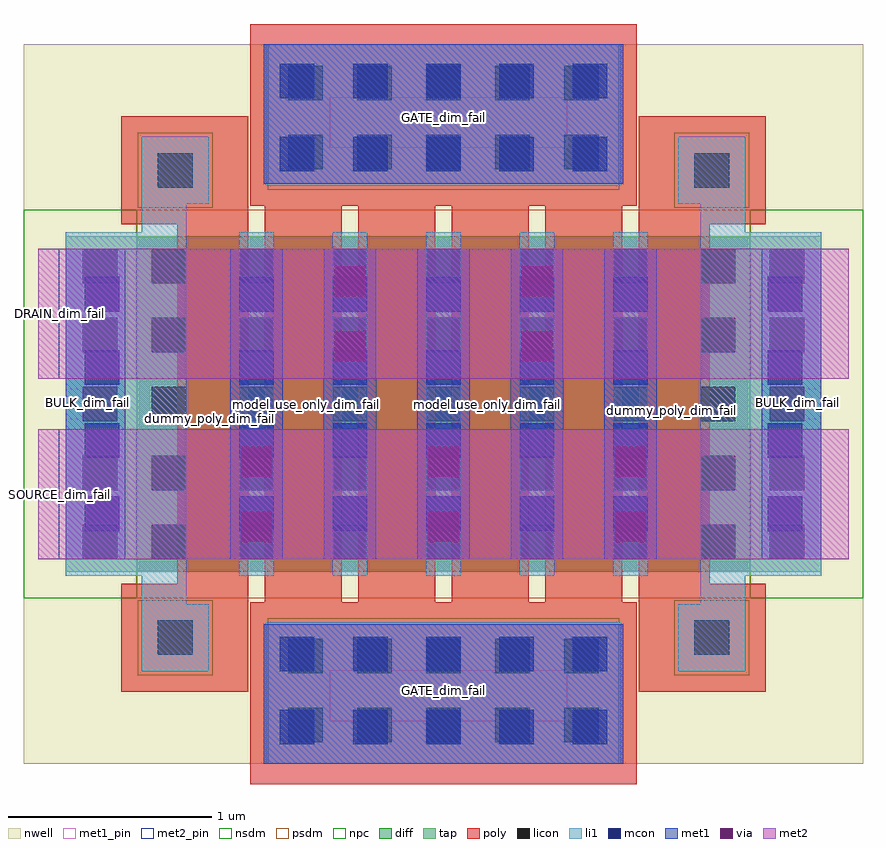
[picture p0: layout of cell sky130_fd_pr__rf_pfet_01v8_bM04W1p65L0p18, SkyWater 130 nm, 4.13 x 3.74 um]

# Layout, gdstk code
import gdstk
lib = gdstk.Library(unit=1e-6, precision=1e-09)
def R(c, l, rs):  # rectangles x0, y0, x1, y1
    for r in rs: c.add(gdstk.rectangle(r[:2], r[2:], *l))
def A(c, l, x, y, w, h, nx, ny, dx, dy):  # array of equal rectangles
    R(c, l, [(x+i*dx, y+j*dy, x+i*dx+w, y+j*dy+h) for i in range(nx) for j in range(ny)])
def P(c, l, *ps):  # polygons
    for p in ps: c.add(gdstk.Polygon(p, *l))
nwell = (64, 20)
diff = (65, 20)
tap = (65, 44)
poly = (66, 20)
licon = (66, 44)
li1 = (67, 20)
mcon = (67, 44)
met1_pin = (68, 16)
met1 = (68, 20)
via = (68, 44)
met2_pin = (69, 16)
met2 = (69, 20)
nsdm = (93, 44)
psdm = (94, 20)
npc = (95, 20)

sky130_fd_pr__rf_pfet_01 = lib.new_cell('sky130_fd_pr__rf_pfet_01v8_bM04W1p65L0p18')
R(sky130_fd_pr__rf_pfet_01, nwell, [(0,0,4.13,3.54)])
R(sky130_fd_pr__rf_pfet_01, diff, [(0.555,0.945,3.575,2.595)])
R(sky130_fd_pr__rf_pfet_01, tap, [(0.205,0.945,0.555,2.595), (3.575,0.945,3.925,2.595)])
P(sky130_fd_pr__rf_pfet_01, poly, [(0.48,0.355),(0.48,0.885),(0.755,0.885),(0.755,2.655),(0.48,2.655),(0.48,3.185),(1.105,3.185),(1.105,0.355)],
  [(3.025,0.355),(3.025,3.185),(3.65,3.185),(3.65,2.655),(3.375,2.655),(3.375,0.885),(3.65,0.885),(3.65,0.355)],
  [(1.115,-0.1),(1.115,0.795),(1.185,0.795),(1.185,2.745),(1.565,2.745),(1.565,0.795),(1.645,0.795),(1.645,2.745),(2.025,2.745),(2.025,0.795),(2.105,0.795),(2.105,2.745),(2.485,2.745),(2.485,0.795),(2.565,0.795),(2.565,2.745),(1.115,2.745),(1.115,3.64),(3.015,3.64),(3.015,2.745),(2.945,2.745),(2.945,0.795),(3.015,0.795),(3.015,-0.1)])
A(sky130_fd_pr__rf_pfet_01, licon, 1.3, 0.105, 0.17, 0.17, 5, 2, 0.34, 0.34)
A(sky130_fd_pr__rf_pfet_01, licon, 0.29, 1.005, 0.17, 0.17, 1, 5, 0, 0.34)
A(sky130_fd_pr__rf_pfet_01, licon, 0.63, 1.005, 0.17, 0.17, 1, 5, 0, 0.34)
A(sky130_fd_pr__rf_pfet_01, licon, 1.06, 1.005, 0.17, 0.17, 3, 1, 0.46, 0)
A(sky130_fd_pr__rf_pfet_01, licon, 1.98, 1.005, 0.17, 0.17, 3, 1, 0.46, 0)
A(sky130_fd_pr__rf_pfet_01, licon, 3.33, 1.005, 0.17, 0.17, 1, 5, 0, 0.34)
A(sky130_fd_pr__rf_pfet_01, licon, 3.67, 1.005, 0.17, 0.17, 1, 5, 0, 0.34)
A(sky130_fd_pr__rf_pfet_01, licon, 1.06, 1.345, 0.17, 0.17, 5, 4, 0.46, 0.34)
A(sky130_fd_pr__rf_pfet_01, licon, 1.3, 2.925, 0.17, 0.17, 5, 2, 0.34, 0.34)
R(sky130_fd_pr__rf_pfet_01, licon, [(0.66,0.535,0.83,0.705), (3.3,0.535,3.47,0.705), (1.06,1.005,1.23,1.175), (2.9,1.005,3.07,1.175), (0.66,2.835,0.83,3.005), (3.3,2.835,3.47,3.005)])
A(sky130_fd_pr__rf_pfet_01, li1, 1.06, 0.925, 0.17, 1.69, 5, 1, 0.46, 0)
R(sky130_fd_pr__rf_pfet_01, li1, [(1.19,0,2.94,0.695), (0.58,0.455,0.91,0.785), (3.22,0.455,3.55,0.785), (0.58,0.785,0.8,0.925), (3.33,0.785,3.55,0.925), (0.205,0.925,0.8,2.615), (3.33,0.925,3.925,2.615), (0.58,2.615,0.8,2.755), (3.33,2.615,3.55,2.755), (0.58,2.755,0.91,3.085), (3.22,2.755,3.55,3.085), (1.19,2.845,2.94,3.54)])
A(sky130_fd_pr__rf_pfet_01, mcon, 1.26, 0.095, 0.17, 0.17, 5, 2, 0.36, 0.36)
A(sky130_fd_pr__rf_pfet_01, mcon, 0.3, 1.145, 0.17, 0.17, 1, 4, 0, 0.36)
A(sky130_fd_pr__rf_pfet_01, mcon, 1.06, 1.145, 0.17, 0.17, 5, 4, 0.46, 0.36)
A(sky130_fd_pr__rf_pfet_01, mcon, 3.66, 1.145, 0.17, 0.17, 1, 4, 0, 0.36)
A(sky130_fd_pr__rf_pfet_01, mcon, 1.26, 2.915, 0.17, 0.17, 5, 2, 0.36, 0.36)
R(sky130_fd_pr__rf_pfet_01, met1_pin, [(1.505,0.21,2.675,0.46), (0.205,1.695,0.435,1.845), (3.695,1.695,3.925,1.845), (1.505,3.03,2.675,3.28)])
A(sky130_fd_pr__rf_pfet_01, met1, 1.015, 1.005, 0.26, 1.53, 5, 1, 0.46, 0)
R(sky130_fd_pr__rf_pfet_01, met1, [(1.18,0,2.95,0.685), (0.205,1.005,0.5,2.535), (3.63,1.005,3.925,2.535), (1.18,2.855,2.95,3.54)])
A(sky130_fd_pr__rf_pfet_01, via, 1.07, 1.09, 0.15, 0.15, 3, 2, 0.92, 0.32)
R(sky130_fd_pr__rf_pfet_01, via, [(1.53,1.98,1.68,2.13), (2.45,1.98,2.6,2.13), (1.53,2.3,1.68,2.45), (2.45,2.3,2.6,2.45)])
R(sky130_fd_pr__rf_pfet_01, met2_pin, [(0.07,1.005,0.175,1.645), (0.07,1.895,0.175,2.535)])
R(sky130_fd_pr__rf_pfet_01, met2, [(0.07,1.005,4.06,1.645), (0.07,1.895,4.06,2.535)])
R(sky130_fd_pr__rf_pfet_01, nsdm, [(0,0.815,0.555,2.725), (3.575,0.815,4.13,2.725)])
R(sky130_fd_pr__rf_pfet_01, psdm, [(0.555,0.815,3.575,2.725)])
R(sky130_fd_pr__rf_pfet_01, npc, [(1.2,0,2.93,0.715), (0.56,0.435,0.93,0.805), (3.2,0.435,3.57,0.805), (0.56,2.735,0.93,3.105), (3.2,2.735,3.57,3.105), (1.2,2.825,2.93,3.54)])
sky130_fd_pr__rf_pfet_01.add(gdstk.Label('dummy_poly_dim_fail', (3.185,1.74), layer=83, texttype=44))
sky130_fd_pr__rf_pfet_01.add(gdstk.Label('dummy_poly_dim_fail', (0.915,1.7), layer=83, texttype=44))
sky130_fd_pr__rf_pfet_01.add(gdstk.Label('GATE_dim_fail', (2.065,3.18), layer=68, texttype=5))
sky130_fd_pr__rf_pfet_01.add(gdstk.Label('GATE_dim_fail', (2.065,0.36), layer=68, texttype=5))
sky130_fd_pr__rf_pfet_01.add(gdstk.Label('BULK_dim_fail', (0.315,1.775), layer=68, texttype=16))
sky130_fd_pr__rf_pfet_01.add(gdstk.Label('BULK_dim_fail', (3.805,1.775), layer=68, texttype=16))
sky130_fd_pr__rf_pfet_01.add(gdstk.Label('model_use_only_dim_fail', (3.185,1.77), layer=66, texttype=83))
sky130_fd_pr__rf_pfet_01.add(gdstk.Label('model_use_only_dim_fail', (1.39,1.77), layer=66, texttype=83))
sky130_fd_pr__rf_pfet_01.add(gdstk.Label('model_use_only_dim_fail', (1.85,1.77), layer=66, texttype=83))
sky130_fd_pr__rf_pfet_01.add(gdstk.Label('model_use_only_dim_fail', (2.74,1.77), layer=66, texttype=83))
sky130_fd_pr__rf_pfet_01.add(gdstk.Label('model_use_only_dim_fail', (2.28,1.77), layer=66, texttype=83))
sky130_fd_pr__rf_pfet_01.add(gdstk.Label('model_use_only_dim_fail', (0.905,1.77), layer=66, texttype=83))
sky130_fd_pr__rf_pfet_01.add(gdstk.Label('SOURCE_dim_fail', (0.175,1.325), layer=69, texttype=5))
sky130_fd_pr__rf_pfet_01.add(gdstk.Label('DRAIN_dim_fail', (0.175,2.215), layer=69, texttype=5))

lib.write_gds('sky130_fd_pr__rf_pfet_01v8_bM04W1p65L0p18.gds')
